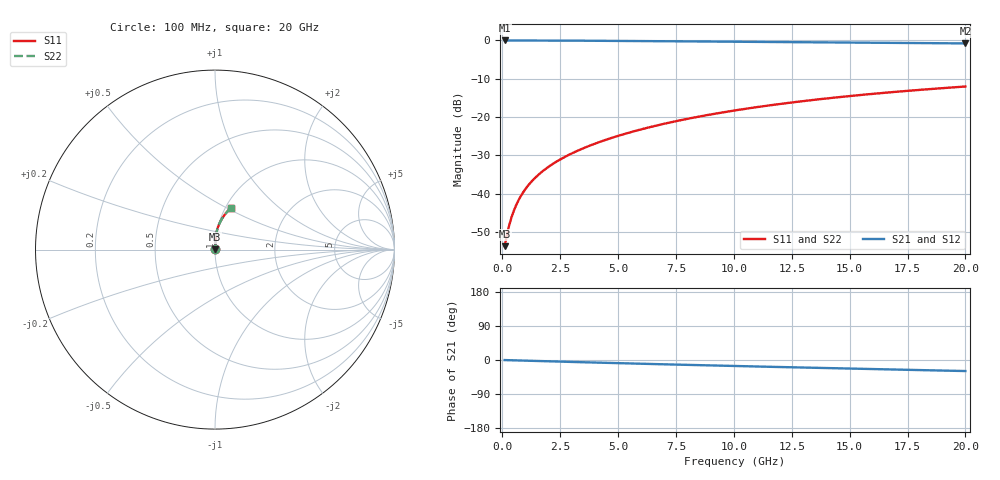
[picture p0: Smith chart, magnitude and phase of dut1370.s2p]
! Touchstone file exported from HFSS 2024.1.0
!  File:  C:/UserFiles/LocalFiles/RDL_TSV_Batchsim/temp_RDL_top_1370_1780366933.aedt
!  Generated:  10:24:24 AM Jun  2, 2026
!  Design:  RDL_top
!  Project:  temp_RDL_top_1370_1780366933
!  Setup:  Setup1
!  Solution:  Sweep
! Variables:
!  dtsv = 10.80580581um
!  hbump = 3um
!  htsv = 68.45um
!  ldown = 100um
!  lrdl = 446.49um
!  p = 40
!  p1 = 41.94um
!  rhole = 1um
!  t = 450um
!  tdown = 3.915915916um
!  trdl = 4.97um
!  wdown = 15.38538539um
!  wrdl = 21.51um
# GHz S MA R 50.000000
! Terminal data exported
! Port[1] = Box2_T1
! Port[2] = Box2_T2
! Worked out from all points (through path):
!   200 points, 100 MHz to 20 GHz, reference 50 ohm
!   highest |S21| = -0.01 dB at 100 MHz (marker M1); lowest = -0.8 dB at 20 GHz (marker M2)
!   group delay of S21, straight-line fit = 4 ps
!   lowest |S11| = -53.7 dB at 100 MHz (marker M3), VSWR 1.00, Z = 50.2 + j0.126 ohm
!   |S11| at or under -10 dB: start of sweep to end of sweep
!   |S22| runs from -53.7 to -12.0 dB; largest |S21 - S12| = 3e-15
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0.1  0.002069 37.2  0.9983 -0.2  0.9983 -0.2  0.002069 37.2
! Gamma 0 0 0 0
! Port Impedance 50 0 50 0
0.2  0.002896 56.9  0.9982 -0.4  0.9982 -0.4  0.002891 56.9
0.3  0.003885 66.5  0.9981 -0.5  0.9981 -0.5  0.003877 66.5
0.4  0.004937 71.8  0.9979 -0.7  0.9979 -0.7  0.004928 71.7
0.5  0.006019 75.0  0.9978 -0.9  0.9978 -0.9  0.006008 75.0
0.6  0.007115 77.2  0.9977 -1.1  0.9977 -1.1  0.007104 77.1
0.8  0.009321 79.8  0.9975 -1.4  0.9975 -1.4  0.00931 79.8
1.1  0.01263 81.9  0.9971 -1.9  0.9971 -1.9  0.01262 81.9
1.5  0.01702 83.4  0.9964 -2.6  0.9964 -2.6  0.01701 83.4
1.8  0.02029 84.2  0.9958 -3.1  0.9958 -3.1  0.02029 84.2
2.1  0.02357 84.7  0.9951 -3.6  0.9951 -3.6  0.02357 84.7
2.7  0.03018 85.6  0.9935 -4.6  0.9935 -4.6  0.03018 85.6
3.5  0.03918 86.3  0.9908 -5.9  0.9908 -5.9  0.03918 86.3
4.2  0.04729 86.7  0.9881 -7.1  0.9881 -7.1  0.04728 86.6
5  0.05683 86.8  0.9848 -8.3  0.9848 -8.3  0.05682 86.7
6.8  0.07929 86.1  0.9766 -11.1  0.9766 -11.1  0.07927 86.0
8.4  0.1001 84.7  0.969 -13.5  0.969 -13.5  0.1001 84.7
10.1  0.1228 82.8  0.9608 -15.9  0.9608 -15.9  0.1227 82.8
11.7  0.1442 80.7  0.9531 -18.1  0.9531 -18.1  0.1442 80.7
13.4  0.1669 78.4  0.945 -20.5  0.945 -20.5  0.1668 78.3
16.7  0.2097 73.6  0.9294 -24.9  0.9294 -24.9  0.2096 73.5
20  0.2502 68.8  0.9137 -29.1  0.9137 -29.1  0.2501 68.8
